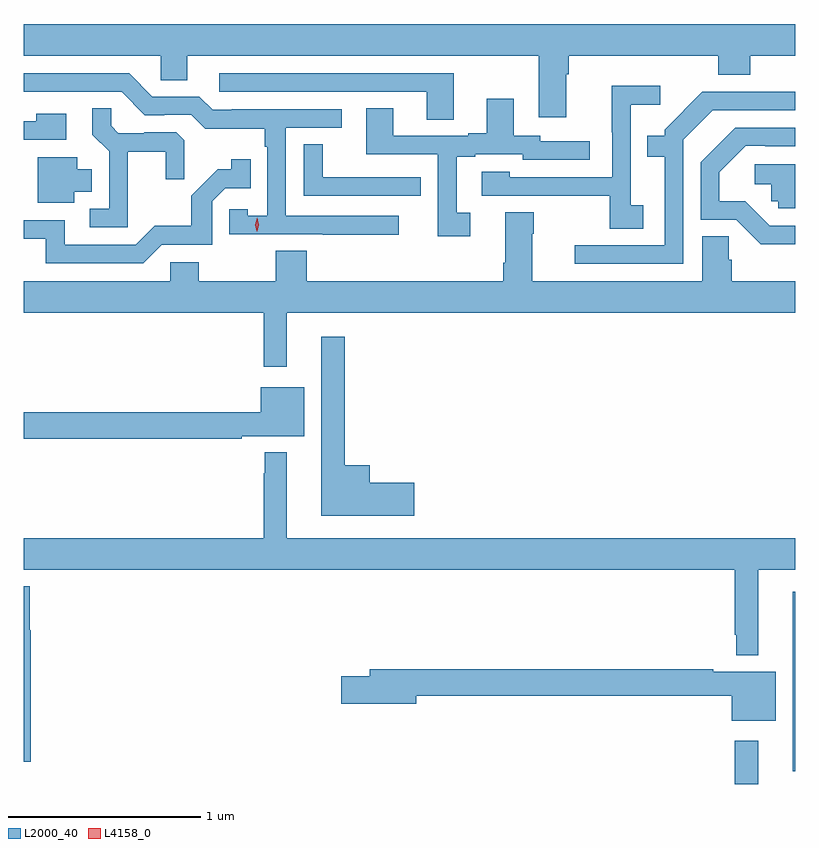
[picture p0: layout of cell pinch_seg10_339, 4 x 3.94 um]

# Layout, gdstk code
import gdstk
lib = gdstk.Library(unit=1e-6, precision=1e-09)
def R(c, l, rs):  # rectangles x0, y0, x1, y1
    for r in rs: c.add(gdstk.rectangle(r[:2], r[2:], *l))
def P(c, l, *ps):  # polygons
    for p in ps: c.add(gdstk.Polygon(p, *l))
L2000_40 = (2000, 40)
L4158_0 = (4158, 0)

pinch_seg10_339 = lib.new_cell('pinch_seg10_339')
R(pinch_seg10_339, L2000_40, [(402.696,1248.59,402.817,1248.814), (402.995,1248.657,403.01,1249.585)])
P(pinch_seg10_339, L2000_40, [(401.821,1252.268),(401.834,1252.268),(401.834,1252.364),(402.611,1252.364),(402.611,1252.265),(402.776,1252.265),(402.776,1252.364),(403.01,1252.364),(403.01,1252.528),(399.01,1252.528),(399.01,1252.364),(399.72,1252.364),(399.72,1252.237),(399.859,1252.237),(399.859,1252.364),(401.681,1252.364),(401.681,1252.044),(401.821,1252.044)],
  [(401.239,1252.272),(400.023,1252.272),(400.023,1252.176),(401.099,1252.176),(401.099,1252.033),(401.239,1252.033)],
  [(400.954,1251.534),(400.368,1251.534),(400.368,1251.99),(400.66,1251.99),(400.66,1252.086),(400.09,1252.086),(400.09,1252.083),(399.99,1252.083),(399.921,1252.152),(399.678,1252.152),(399.558,1252.272),(399.01,1252.272),(399.01,1252.176),(399.519,1252.176),(399.639,1252.056),(399.74,1252.056),(399.74,1252.059),(399.879,1252.059),(399.952,1251.986),(400.26,1251.986),(400.26,1251.893),(400.272,1251.893),(400.272,1251.535),(400.173,1251.535),(400.173,1251.567),(400.077,1251.567),(400.077,1251.438),(400.561,1251.438),(400.561,1251.436),(400.954,1251.436)],
  [(402.22,1251.588),(402.156,1251.588),(402.156,1252.109),(402.31,1252.109),(402.31,1252.207),(402.058,1252.207),(402.058,1251.968),(402.06,1251.968),(402.06,1251.735),(401.529,1251.735),(401.529,1251.763),(401.385,1251.763),(401.385,1251.639),(401.743,1251.639),(401.743,1251.637),(402.048,1251.637),(402.048,1251.466),(402.22,1251.466)],
  [(402.429,1251.927),(402.582,1252.08),(403.01,1252.08),(403.01,1252.178),(402.859,1252.178),(402.859,1252.176),(402.528,1252.176),(402.333,1251.981),(402.333,1251.949),(402.241,1251.949),(402.241,1251.84),(402.332,1251.84),(402.332,1251.381),(401.865,1251.381),(401.865,1251.285),(402.429,1251.285)],
  [(401.326,1251.549),(401.254,1251.549),(401.254,1251.84),(401.35,1251.84),(401.35,1251.852),(401.598,1251.852),(401.598,1251.825),(401.944,1251.825),(401.944,1251.921),(401.688,1251.921),(401.688,1251.948),(401.551,1251.948),(401.551,1252.141),(401.411,1252.141),(401.411,1251.961),(401.315,1251.961),(401.315,1251.948),(400.927,1251.948),(400.927,1252.091),(400.787,1252.091),(400.787,1251.852),(401.157,1251.852),(401.157,1251.429),(401.326,1251.429)],
  [(399.551,1251.866),(399.748,1251.866),(399.748,1251.723),(399.842,1251.723),(399.842,1251.925),(399.801,1251.966),(399.636,1251.966),(399.636,1251.963),(399.502,1251.963),(399.465,1252),(399.465,1252.091),(399.367,1252.091),(399.367,1251.955),(399.453,1251.869),(399.453,1251.57),(399.354,1251.57),(399.354,1251.474),(399.551,1251.474)],
  [(399.232,1252.063),(399.076,1252.063),(399.076,1252.023),(399.01,1252.023),(399.01,1251.927),(399.232,1251.927)],
  [(403.01,1251.483),(402.876,1251.483),(402.749,1251.61),(402.616,1251.61),(402.616,1251.76),(402.753,1251.897),(402.853,1251.897),(402.853,1251.894),(403.01,1251.894),(403.01,1251.99),(402.698,1251.99),(402.519,1251.811),(402.519,1251.513),(402.702,1251.513),(402.83,1251.386),(403.01,1251.386)],
  [(401.068,1251.734),(400.955,1251.734),(400.955,1251.735),(400.56,1251.735),(400.56,1251.905),(400.461,1251.905),(400.461,1251.639),(401.068,1251.639)],
  [(399.274,1251.659),(399.364,1251.659),(399.364,1251.775),(399.289,1251.775),(399.289,1251.838),(399.083,1251.838),(399.083,1251.602),(399.274,1251.602)],
  [(399.726,1251.384),(399.987,1251.384),(399.987,1251.609),(400.056,1251.678),(400.187,1251.678),(400.187,1251.826),(400.086,1251.826),(400.086,1251.776),(400.016,1251.776),(399.879,1251.638),(399.879,1251.483),(399.69,1251.483),(399.591,1251.384),(399.223,1251.384),(399.223,1251.51),(399.01,1251.51),(399.01,1251.414),(399.125,1251.414),(399.125,1251.288),(399.63,1251.288)],
  [(403.01,1251.801),(402.798,1251.801),(402.798,1251.698),(402.885,1251.698),(402.885,1251.609),(402.921,1251.609),(402.921,1251.573),(403.01,1251.573)],
  [(400.375,1251.032),(403.01,1251.032),(403.01,1251.196),(402.68,1251.196),(402.68,1251.306),(402.665,1251.306),(402.665,1251.428),(402.527,1251.428),(402.527,1251.196),(401.647,1251.196),(401.647,1251.44),(401.655,1251.44),(401.655,1251.553),(401.507,1251.553),(401.507,1251.292),(401.495,1251.292),(401.495,1251.196),(400.478,1251.196),(400.478,1251.353),(400.318,1251.353),(400.318,1251.196),(399.918,1251.196),(399.918,1251.294),(399.771,1251.294),(399.771,1251.196),(399.01,1251.196),(399.01,1251.032),(400.254,1251.032),(400.254,1250.751),(400.375,1250.751)],
  [(401.035,1250.15),(400.804,1250.15),(400.804,1250.242),(400.675,1250.242),(400.675,1250.908),(400.553,1250.908),(400.553,1249.979),(401.035,1249.979)],
  [(400.142,1250.393),(400.465,1250.393),(400.465,1250.647),(400.238,1250.647),(400.238,1250.516),(399.01,1250.516),(399.01,1250.38),(400.142,1250.38)],
  [(402.817,1249.7),(403.01,1249.7),(403.01,1249.864),(400.375,1249.864),(400.375,1250.308),(400.26,1250.308),(400.26,1250.201),(400.254,1250.201),(400.254,1249.864),(399.01,1249.864),(399.01,1249.7),(402.696,1249.7),(402.696,1249.363),(402.702,1249.363),(402.702,1249.256),(402.817,1249.256)],
  [(399.047,1249.387),(399.041,1249.387),(399.041,1249.615),(399.01,1249.615),(399.01,1248.704),(399.047,1248.704)],
  [(402.907,1249.171),(402.584,1249.171),(402.584,1249.184),(400.805,1249.184),(400.805,1249.148),(400.656,1249.148),(400.656,1249.006),(401.044,1249.006),(401.044,1249.048),(402.68,1249.048),(402.68,1248.917),(402.907,1248.917)])
P(pinch_seg10_339, L4158_0, [(400.219,1251.453),(400.21,1251.489),(400.221,1251.525),(400.221,1251.525),(400.221,1251.525),(400.23,1251.489),(400.22,1251.453),(400.22,1251.453)])

lib.write_gds('pinch_seg10_339.gds')
